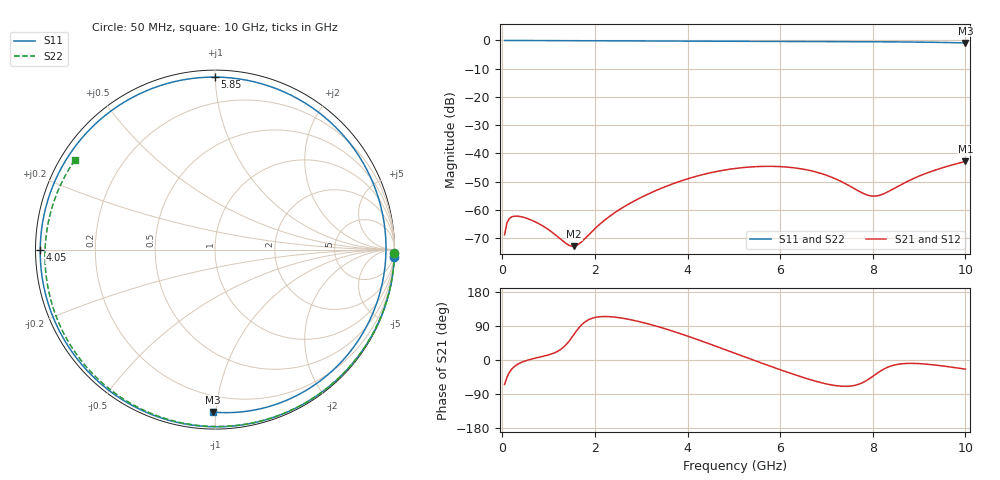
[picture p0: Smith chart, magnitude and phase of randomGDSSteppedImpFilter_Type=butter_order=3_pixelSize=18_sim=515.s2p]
! freq	dB(S11)	phase(S11)	dB(S12)	phase(S12)
!  dB(S21)	phase(S21)	dB(S22)	phase(S22)
!S-par simulation data
#  GHz  S  DB  R 50
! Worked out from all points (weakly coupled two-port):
!   200 points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, 50 MHz to 10 GHz, reference 50 ohm
!   highest |S21| = -42.84 dB at 10 GHz (marker M1); lowest = -72.8 dB at 1.55 GHz (marker M2)
!   lowest |S11| = -0.9 dB at 10 GHz (marker M3), VSWR 20.10, Z = 4.91 - j49.2 ohm
!   |S11| at or under -10 dB: nowhere
!   |S22| runs from -0.7 to 0.0 dB; largest |S21 - S12| = 0
!   S11 on the Smith chart (normalised r, x): 50 MHz: 0, -50; 4.05 GHz: 0.01, -0.00; 5.85 GHz: 0.04, +1.00; 10 GHz: 0.10, -0.98
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0.05  -0.00 -2.3  -68.81 -64.7  -68.81 -64.7  -0.00 -1.1
0.1  -0.00 -4.6  -64.61 -45.8  -64.61 -45.8  -0.00 -2.3
0.15  -0.00 -6.9  -63.10 -33.2  -63.10 -33.2  -0.00 -3.4
0.35  -0.01 -16.0  -62.24 -10.0  -62.24 -10.0  -0.01 -8.0
1  -0.05 -45.3  -67.00 13.4  -67.00 13.4  -0.03 -22.7
1.55  -0.09 -69.7  -72.82 67.9  -72.82 67.9  -0.04 -34.9
1.75  -0.10 -78.4  -70.70 97.1  -70.70 97.1  -0.05 -39.3
2.55  -0.14 -113.2  -59.67 111.2  -59.67 111.2  -0.07 -56.5
3.4  -0.19 -150.4  -52.56 86.7  -52.56 86.7  -0.10 -74.3
4.05  -0.23 -179.8  -48.74 61.1  -48.74 61.1  -0.12 -87.5
4.55  -0.26 156.4  -46.64 39.1  -46.64 39.1  -0.14 -97.5
5.05  -0.30 131.7  -45.28 16.5  -45.28 16.5  -0.17 -107.3
5.45  -0.32 111.1  -44.69 -1.4  -44.69 -1.4  -0.19 -115.1
5.85  -0.34 90.1  -44.57 -19.1  -44.57 -19.1  -0.21 -122.9
6.25  -0.36 69.0  -44.99 -36.1  -44.99 -36.1  -0.24 -130.7
6.7  -0.38 45.6  -46.26 -53.7  -46.26 -53.7  -0.27 -139.5
7.1  -0.39 25.5  -48.34 -65.7  -48.34 -65.7  -0.31 -147.4
7.5  -0.41 6.3  -51.51 -69.0  -51.51 -69.0  -0.35 -155.4
7.95  -0.44 -13.9  -55.00 -47.5  -55.00 -47.5  -0.39 -164.7
8.35  -0.48 -30.6  -53.37 -17.7  -53.37 -17.7  -0.44 -173.3
9.15  -0.61 -61.1  -47.04 -10.9  -47.04 -10.9  -0.54 168.6
10  -0.87 -90.7  -42.84 -24.1  -42.84 -24.1  -0.66 147.2
